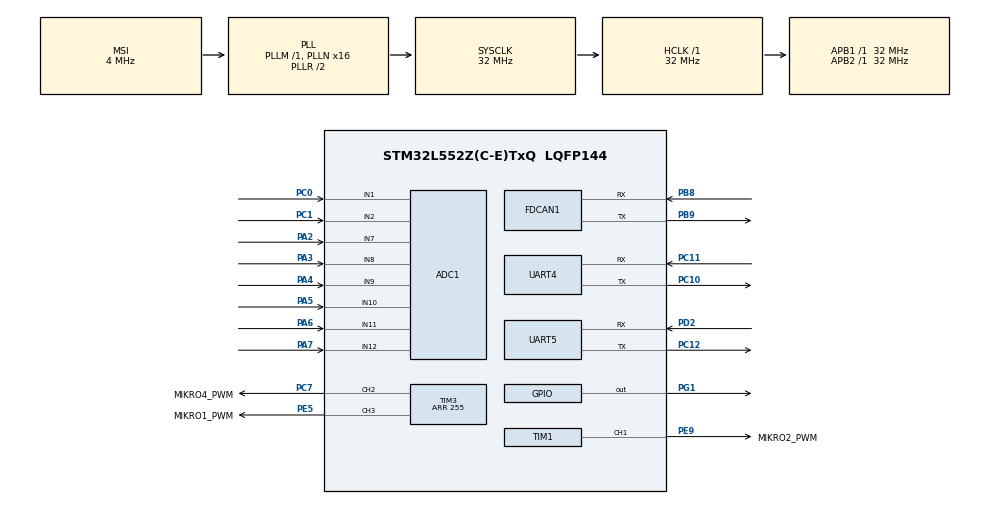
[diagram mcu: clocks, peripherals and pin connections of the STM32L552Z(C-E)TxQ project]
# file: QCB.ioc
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ADC1.Channel-0\#ChannelRegularConversion=ADC_CHANNEL_2
ADC1.Channel-1\#ChannelRegularConversion=ADC_CHANNEL_1
ADC1.Channel-2\#ChannelRegularConversion=ADC_CHANNEL_10
ADC1.Channel-3\#ChannelRegularConversion=ADC_CHANNEL_9
ADC1.Channel-4\#ChannelRegularConversion=ADC_CHANNEL_7
ADC1.Channel-5\#ChannelRegularConversion=ADC_CHANNEL_8
ADC1.Channel-6\#ChannelRegularConversion=ADC_CHANNEL_11
ADC1.Channel-7\#ChannelRegularConversion=ADC_CHANNEL_12
ADC1.ContinuousConvMode=ENABLE
ADC1.DMAContinuousRequests=DISABLE
ADC1.EOCSelection=ADC_EOC_SEQ_CONV
ADC1.NbrOfConversion=8
ADC1.NbrOfConversionFlag=1
ADC1.OffsetNumber-0\#ChannelRegularConversion=ADC_OFFSET_NONE
ADC1.OffsetNumber-1\#ChannelRegularConversion=ADC_OFFSET_NONE
ADC1.OffsetNumber-2\#ChannelRegularConversion=ADC_OFFSET_NONE
ADC1.OffsetNumber-3\#ChannelRegularConversion=ADC_OFFSET_NONE
ADC1.OffsetNumber-4\#ChannelRegularConversion=ADC_OFFSET_NONE
ADC1.OffsetNumber-5\#ChannelRegularConversion=ADC_OFFSET_NONE
ADC1.OffsetNumber-6\#ChannelRegularConversion=ADC_OFFSET_NONE
ADC1.OffsetNumber-7\#ChannelRegularConversion=ADC_OFFSET_NONE
ADC1.Rank-0\#ChannelRegularConversion=1
ADC1.Rank-1\#ChannelRegularConversion=2
ADC1.Rank-2\#ChannelRegularConversion=3
ADC1.Rank-3\#ChannelRegularConversion=4
ADC1.Rank-4\#ChannelRegularConversion=5
ADC1.Rank-5\#ChannelRegularConversion=6
ADC1.Rank-6\#ChannelRegularConversion=7
ADC1.Rank-7\#ChannelRegularConversion=8
ADC1.SamplingTime-0\#ChannelRegularConversion=ADC_SAMPLETIME_640CYCLES_5
ADC1.SamplingTime-1\#ChannelRegularConversion=ADC_SAMPLETIME_640CYCLES_5
ADC1.SamplingTime-2\#ChannelRegularConversion=ADC_SAMPLETIME_640CYCLES_5
ADC1.SamplingTime-3\#ChannelRegularConversion=ADC_SAMPLETIME_640CYCLES_5
ADC1.SamplingTime-4\#ChannelRegularConversion=ADC_SAMPLETIME_640CYCLES_5
ADC1.SamplingTime-5\#ChannelRegularConversion=ADC_SAMPLETIME_640CYCLES_5
ADC1.SamplingTime-6\#ChannelRegularConversion=ADC_SAMPLETIME_640CYCLES_5
ADC1.SamplingTime-7\#ChannelRegularConversion=ADC_SAMPLETIME_640CYCLES_5
ADC1.master=1
Dma.ADC1.0.Channel_PRIV_NPRIV=DMA_CHANNEL_NPRIV_DISABLE
Dma.ADC1.0.Direction=DMA_PERIPH_TO_MEMORY
Dma.ADC1.0.EventEnable=DISABLE
Dma.ADC1.0.Instance=DMA1_Channel1
Dma.ADC1.0.MemDataAlignment=DMA_MDATAALIGN_HALFWORD
Dma.ADC1.0.MemInc=DMA_MINC_ENABLE
Dma.ADC1.0.Mode=DMA_CIRCULAR
Dma.ADC1.0.PeriphDataAlignment=DMA_PDATAALIGN_HALFWORD
Dma.ADC1.0.PeriphInc=DMA_PINC_DISABLE
Dma.ADC1.0.Polarity=HAL_DMAMUX_REQ_GEN_RISING
Dma.ADC1.0.Priority=DMA_PRIORITY_LOW
Dma.ADC1.0.RequestNumber=1
Dma.ADC1.0.SignalID=NONE
Dma.ADC1.0.SyncEnable=DISABLE
Dma.ADC1.0.SyncPolarity=HAL_DMAMUX_SYNC_NO_EVENT
Dma.ADC1.0.SyncRequestNumber=1
Dma.ADC1.0.SyncSignalID=NONE
Dma.Request0=ADC1
FDCAN1.AutoRetransmission=ENABLE
FDCAN1.CalculateBaudRateNominal=125000
FDCAN1.CalculateTimeBitNominal=8000
FDCAN1.CalculateTimeQuantumNominal=500.0
FDCAN1.FrameFormat=FDCAN_FRAME_FD_NO_BRS
FDCAN1.Mode=FDCAN_MODE_NORMAL
FDCAN1.NominalTimeSeg1=13
FDCAN1.StdFiltersNbr=1
Mcu.Family=STM32L5
Mcu.Name=STM32L552Z(C-E)TxQ
Mcu.Package=LQFP144
NVIC.DMA1_Channel1_IRQn=true\:0\:0\:false\:false\:true\:false\:true\:true
NVIC.FDCAN1_IT0_IRQn=true\:0\:0\:false\:false\:true\:true\:true\:true
NVIC.FDCAN1_IT1_IRQn=true\:0\:0\:false\:false\:true\:true\:true\:true
NVIC.PriorityGroup=NVIC_PRIORITYGROUP_3
NVIC.UART4_IRQn=true\:0\:0\:false\:false\:true\:true\:true\:true
PA13\ (JTMS/SWDIO).Mode=Serial_Wire
PA13\ (JTMS/SWDIO).Signal=DEBUG_JTMS-SWDIO
PA14\ (JTCK/SWCLK).Mode=Serial_Wire
PA14\ (JTCK/SWCLK).Signal=DEBUG_JTCK-SWCLK
PA2.Signal=ADCx_IN7
PA3.Signal=ADCx_IN8
PA4.Signal=ADCx_IN9
PA5.Signal=ADCx_IN10
PA6.Signal=ADCx_IN11
PA7.Signal=ADCx_IN12
PB5.Signal=UART5_CTS
PB8.Mode=FDCAN_Activate
PB8.Signal=FDCAN1_RX
PB9.Mode=FDCAN_Activate
PB9.Signal=FDCAN1_TX
PC0.Signal=ADCx_IN1
PC1.Signal=ADCx_IN2
PC10.Mode=Asynchronous
PC10.Signal=UART4_TX
PC11.Mode=Asynchronous
PC11.Signal=UART4_RX
PC12.Mode=Asynchronous
PC12.Signal=UART5_TX
PC7.GPIO_Label=MIKRO4_PWM
PC7.Signal=S_TIM3_CH2
PD2.Mode=Asynchronous
PD2.Signal=UART5_RX
PE5.GPIO_Label=MIKRO1_PWM
PE5.Signal=S_TIM3_CH3
PE9.GPIO_Label=MIKRO2_PWM
PE9.Signal=S_TIM1_CH1
PG1.Signal=GPIO_Output
PH0-OSC_IN\ (PH0).Mode=HSE-External-Oscillator
PH0-OSC_IN\ (PH0).Signal=RCC_OSC_IN
PH1-OSC_OUT\ (PH1).Mode=HSE-External-Oscillator
PH1-OSC_OUT\ (PH1).Signal=RCC_OSC_OUT
ProjectManager.HeapSize=0x200
ProjectManager.StackSize=0x400
ProjectManager.TargetToolchain=STM32CubeIDE
RCC.ADCFreq_Value=32000000
RCC.AHBFreq_Value=32000000
RCC.APB1Freq_Value=32000000
RCC.APB1TimFreq_Value=32000000
RCC.APB2Freq_Value=32000000
RCC.APB2TimFreq_Value=32000000
RCC.CortexFreq_Value=32000000
RCC.HCLKFreq_Value=32000000
RCC.HSE_VALUE=32000000
RCC.HSI48_VALUE=48000000
RCC.HSI_VALUE=16000000
RCC.LSE_VALUE=32768
RCC.MSI_VALUE=4000000
RCC.PLLN=16
RCC.PLLSAI1N=16
RCC.SYSCLKFreq_VALUE=32000000
RCC.SYSCLKSource=RCC_SYSCLKSOURCE_PLLCLK
RCC.USBFreq_Value=32000000
RCC.VCOOutputFreq_Value=64000000
SH.ADCx_IN1.0=ADC1_IN1,IN1-Single-Ended
SH.ADCx_IN10.0=ADC1_IN10,IN10-Single-Ended
SH.ADCx_IN11.0=ADC1_IN11,IN11-Single-Ended
SH.ADCx_IN12.0=ADC1_IN12,IN12-Single-Ended
SH.ADCx_IN2.0=ADC1_IN2,IN2-Single-Ended
SH.ADCx_IN7.0=ADC1_IN7,IN7-Single-Ended
SH.ADCx_IN8.0=ADC1_IN8,IN8-Single-Ended
SH.ADCx_IN9.0=ADC1_IN9,IN9-Single-Ended
SH.S_TIM1_CH1.0=TIM1_CH1,PWM Generation1 CH1
SH.S_TIM3_CH2.0=TIM3_CH2,PWM Generation2 CH2
SH.S_TIM3_CH3.0=TIM3_CH3,PWM Generation3 CH3
TIM1.Channel-PWM\ Generation1\ CH1=TIM_CHANNEL_1
TIM1.Period=255
TIM3.Channel-PWM\ Generation2\ CH2=TIM_CHANNEL_2
TIM3.Channel-PWM\ Generation3\ CH3=TIM_CHANNEL_3
TIM3.Period=255
VP_ICACHE_VS_ICACHE.Mode=DirectMappedCache
VP_PWR_VS_DBSignals.Mode=DisableDeadBatterySignals
VP_PWR_VS_SECSignals.Mode=Security/Privilege
board=custom

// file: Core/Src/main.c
/* USER CODE BEGIN Header */
/**
  ******************************************************************************
  * @file           : main.c
  * @brief          : Main program body
  ******************************************************************************
  * @attention
  *
  * Copyright (c) 2022 STMicroelectronics.
  * All rights reserved.
  *
  * This software is licensed under terms that can be found in the LICENSE file
  * in the root directory of this software component.
  * If no LICENSE file comes with this software, it is provided AS-IS.
  *
  ******************************************************************************
  */
/* USER CODE END Header */
#include "main.h"

/* USER CODE BEGIN Includes */
#include <stdbool.h>
#include <string.h>
#include "axe_init.h"
/* USER CODE END Includes */

ADC_HandleTypeDef hadc1;
DMA_HandleTypeDef hdma_adc1;

FDCAN_HandleTypeDef hfdcan1;

TIM_HandleTypeDef htim1;
TIM_HandleTypeDef htim3;

UART_HandleTypeDef huart4;
UART_HandleTypeDef huart5;

/* USER CODE BEGIN PV */
uint8_t uart_char[MAX_SLIP_SIZE];
uint8_t pkt_buff[MAX_IPKT_SIZE];
uint8_t fdcan_tx_buff[64];
int fdcan_tx_buff_num = 0;
int transmit_buff_num = 0;
bool command_receive = false;
uint8_t can_rx_test[64];
FDCAN_TxHeaderTypeDef tx_header;
FDCAN_RxHeaderTypeDef rx_header;

const uint32_t my_address = (('Q' & 0x1F) << 24) + ('U' << 16) + ('E' << 8);
// The first multicast address is ALL, which is ASCII "ALL" preceeded by 1's over CAN.
const uint32_t all_address = (0x1F << 24) + ('A' << 16) + ('L' << 8) + 'L';
// The second multicast address is HALL, which is ASCII "ALL" preceeded by 0's over CAN.
// This makes HALL multicast messages higher priority.
const uint32_t hall_address = (0x00 << 24) + ('A' << 16) + ('L' << 8) + 'L';

// Other addresses
const uint32_t qcb_address = (('U' & 0x1F) << 24) + ('I' << 16) + ('U' << 8) + 'C';

const FDCAN_FilterTypeDef sFilterConfig1 = {
  .IdType = FDCAN_EXTENDED_ID,
  .FilterIndex = 0,
  .FilterType = FDCAN_FILTER_DUAL,
  .FilterConfig = FDCAN_FILTER_TO_RXFIFO0,
  .FilterID1 = PLSB_ADDR,
  .FilterID2 = PLSB_ADDR
};

const FDCAN_FilterTypeDef sFilterConfig2 = {
  .IdType = FDCAN_EXTENDED_ID,
  .FilterIndex = 1,
  .FilterType = FDCAN_FILTER_DUAL,
  .FilterConfig = FDCAN_FILTER_TO_RXFIFO0_HP,
  .FilterID1 = PLSB_ADDR,
  .FilterID2 = PLSB_ADDR
};

struct TNODE table[20];
volatile int adc_conv1_complete = 0;
#define NUM_CHANNELS 8
uint16_t adc_result[NUM_CHANNELS];
/* USER CODE END PV */

void SystemClock_Config(void);
static void MX_GPIO_Init(void);
static void MX_DMA_Init(void);
static void MX_ICACHE_Init(void);
static void MX_UART4_Init(void);
static void MX_UART5_Init(void);
static void MX_TIM3_Init(void);
static void MX_ADC1_Init(void);
static void MX_FDCAN1_Init(void);
static void MX_TIM1_Init(void);
/* USER CODE BEGIN PFP */
void send_stm32_uart(ipacket_t* pkt);
int axe_process_f(ipacket_t* pkt);
void takeMeasurement();
/* USER CODE END PFP */

int main(void)
{
  /* USER CODE BEGIN 1 */
  //char can_test[12] = "1234567890\r\n";
  /* USER CODE END 1 */

  /* MCU Configuration--------------------------------------------------------*/

  /* Reset of all peripherals, Initializes the Flash interface and the Systick. */
  HAL_Init();

  /* Configure the system clock */
  SystemClock_Config();

  /* Initialize all configured peripherals */
  MX_GPIO_Init();
  MX_DMA_Init();
  MX_ICACHE_Init();
  MX_UART4_Init();
  MX_UART5_Init();
  MX_TIM3_Init();
  MX_ADC1_Init();
  MX_FDCAN1_Init();
  MX_TIM1_Init();
  /* USER CODE BEGIN 2 */
  tx_header.Identifier = qcb_address;
  tx_header.IdType = FDCAN_EXTENDED_ID;
  tx_header.TxFrameType = FDCAN_DATA_FRAME;
  tx_header.DataLength = FDCAN_DLC_BYTES_64;
  tx_header.ErrorStateIndicator = FDCAN_ESI_ACTIVE;
  tx_header.BitRateSwitch = FDCAN_BRS_OFF;
  tx_header.FDFormat = FDCAN_FD_CAN;
  tx_header.MessageMarker = 0;
  tx_header.TxEventFifoControl = FDCAN_NO_TX_EVENTS;

  HAL_UART_Receive_IT(&huart4, uart_char, 1);
  memset(fdcan_tx_buff, '\0', sizeof(fdcan_tx_buff));

  // ICOMMs config
  iface_t can = {
      .active = true,
      // Should be all but your address if not RADCOM
      .addrs = {ALBIN_ADDR, DCM_ADDR, QCB_ADDR, GND_ADDR, RADCOM_ADDR},
      .mtu = CAN_MTU,
      .interface = CAN,
      .send_pkt = stm32can_send,
  };
  iface_table[0] = can;
  board_config.router = false;
  board_config.my_addr = PLSB_ADDR;
  board_config.crc32_f = crc32;
  board_config.axe_process_f = axe_process_f;
  seaque_fdcan = &hfdcan1;

  axe_config_t a_cfg = {
    .root_table = root_table,
    .root_table_len = TABLE_SIZE,
  };
  axe_set_config(a_cfg);
  init_axe();
  table_init();

  // PWM setup
  HAL_TIM_Base_Start(&htim3);
  HAL_TIM_PWM_Init(&htim3);
  HAL_TIM_PWM_Start(&htim3, TIM_CHANNEL_3);
  HAL_TIM_PWM_Start(&htim3, TIM_CHANNEL_2);
  HAL_TIM_PWM_Start(&htim3, TIM_CHANNEL_1);
  HAL_TIM_Base_Start(&htim1);
  HAL_TIM_PWM_Init(&htim1);
  HAL_TIM_PWM_Start(&htim1, TIM_CHANNEL_1);

  // ICOMM Packet
  ipacket_t pkt = {
    .cmd = 0,
    .addr_to = GND_ADDR,
    .addr_from = board_config.my_addr,
    .n = 0,
    .m = 0,
    .data = {'\0'},
  };

  // Serial debug variables
  int return_val = 0;
  char test[50] = {'\0'};

  int tempsize = snprintf(test, sizeof(test), "Started\r\n");
  HAL_UART_Transmit(&huart5, test, tempsize, 100);

  uint16_t* packet_data;
  packet_data = (uint16_t*)(pkt.data);
  /* USER CODE END 2 */

  /* Infinite loop */
  while (1)
  {

    /* USER CODE BEGIN 3 */

    // ----- Sweep Curve -----
    // MIKRO1_PWM
    for (int i=0; i<255; i++){
      htim3.Instance->CCR3 = i;
      takeMeasurement();
      packet_data[i] = adc_result[0];
      packet_data[i+256] = adc_result[1];
    }
    // MIKRO2_PWM
    for (int i=0; i<255; i++){
      htim1.Instance->CCR1 = i;
      takeMeasurement();
      packet_data[i+512] = adc_result[2];
      packet_data[i+512+256] = adc_result[3];
    }
    // MIKRO4_PWM
    for (int i=0; i<255; i++){
      htim3.Instance->CCR2 = i;
      takeMeasurement();
      packet_data[i+1024] = adc_result[6];
      packet_data[i+1024+256] = adc_result[7];
    }

    // a test packet
    /* for (int i=0;i<512 * 3 * 2;i++){ */
    /*   pkt.data[i] = i; */
    /* } */

    if (telemetry_en) {
      pkt.size = 512 * 3 * 2;
      send_ipacket(&pkt);
      comms_tick();
    }

    /* // send the whole packet over serial */
    /* HAL_UART_Transmit(&huart5, packet_data, pkt.size, 100); */
    /* HAL_Delay(100); */

    /* ----------------------------------- */
    /* uint16_t raw; */
    /* char msg[10]; */
    /* while (1) */
    /*   { */

    /*     // Get ADC value */
    /*     HAL_ADC_Start(&hadc1); */
    /*     HAL_ADC_PollForConversion(&hadc1, HAL_MAX_DELAY); */
    /*     raw = HAL_ADC_GetValue(&hadc1); */

    /*     // Convert to string and print */
    /*     sprintf(msg, "%hu\r\n", raw); */
    /*     HAL_UART_Transmit(&huart5, (uint8_t*)msg, strlen(msg), HAL_MAX_DELAY); */

    /*     // Pretend we have to do something else for a while */
    /*     HAL_Delay(1); */
    /*   } */
    /* ----------------------------------- */

    /* takeMeasurement(); */
    /* for (int i=0; i<NUM_CHANNELS; i++){ */
    /*     int tempsize = snprintf(test, sizeof(test), "RRank %d: %u\r\n", i+1, adc_result[i]); */
    /*     HAL_UART_Transmit(&huart5, test, tempsize, 100); */
    /*     HAL_Delay(10); */
    /* } */

    /* HAL_Delay(1000); */
    /* HAL_GPIO_WritePin(GPIOG, GPIO_PIN_1, GPIO_PIN_RESET); */
    /* HAL_Delay(1000); */
    /* HAL_GPIO_WritePin(GPIOG, GPIO_PIN_1, GPIO_PIN_SET); */
    /* HAL_Delay(300000); */

    HAL_Delay(300000);

  }
  /* USER CODE END 3 */
}

void SystemClock_Config(void)
{
  RCC_OscInitTypeDef RCC_OscInitStruct = {0};
  RCC_ClkInitTypeDef RCC_ClkInitStruct = {0};

  /** Configure the main internal regulator output voltage
  */
  if (HAL_PWREx_ControlVoltageScaling(PWR_REGULATOR_VOLTAGE_SCALE1) != HAL_OK)
  {
    Error_Handler();
  }

  /** Initializes the RCC Oscillators according to the specified parameters
  * in the RCC_OscInitTypeDef structure.
  */
  RCC_OscInitStruct.OscillatorType = RCC_OSCILLATORTYPE_MSI;
  RCC_OscInitStruct.MSIState = RCC_MSI_ON;
  RCC_OscInitStruct.MSICalibrationValue = RCC_MSICALIBRATION_DEFAULT;
  RCC_OscInitStruct.MSIClockRange = RCC_MSIRANGE_6;
  RCC_OscInitStruct.PLL.PLLState = RCC_PLL_ON;
  RCC_OscInitStruct.PLL.PLLSource = RCC_PLLSOURCE_MSI;
  RCC_OscInitStruct.PLL.PLLM = 1;
  RCC_OscInitStruct.PLL.PLLN = 16;
  RCC_OscInitStruct.PLL.PLLP = RCC_PLLP_DIV7;
  RCC_OscInitStruct.PLL.PLLQ = RCC_PLLQ_DIV2;
  RCC_OscInitStruct.PLL.PLLR = RCC_PLLR_DIV2;
  if (HAL_RCC_OscConfig(&RCC_OscInitStruct) != HAL_OK)
  {
    Error_Handler();
  }

  /** Initializes the CPU, AHB and APB buses clocks
  */
  RCC_ClkInitStruct.ClockType = RCC_CLOCKTYPE_HCLK|RCC_CLOCKTYPE_SYSCLK
                              |RCC_CLOCKTYPE_PCLK1|RCC_CLOCKTYPE_PCLK2;
  RCC_ClkInitStruct.SYSCLKSource = RCC_SYSCLKSOURCE_PLLCLK;
  RCC_ClkInitStruct.AHBCLKDivider = RCC_SYSCLK_DIV1;
  RCC_ClkInitStruct.APB1CLKDivider = RCC_HCLK_DIV1;
  RCC_ClkInitStruct.APB2CLKDivider = RCC_HCLK_DIV1;

  if (HAL_RCC_ClockConfig(&RCC_ClkInitStruct, FLASH_LATENCY_1) != HAL_OK)
  {
    Error_Handler();
  }
}

static void MX_ADC1_Init(void)
{

  ADC_MultiModeTypeDef multimode = {0};
  ADC_ChannelConfTypeDef sConfig = {0};

  /** Common config
  */
  hadc1.Instance = ADC1;
  hadc1.Init.ClockPrescaler = ADC_CLOCK_ASYNC_DIV1;
  hadc1.Init.Resolution = ADC_RESOLUTION_12B;
  hadc1.Init.DataAlign = ADC_DATAALIGN_RIGHT;
  hadc1.Init.ScanConvMode = ADC_SCAN_ENABLE;
  hadc1.Init.EOCSelection = ADC_EOC_SEQ_CONV;
  hadc1.Init.LowPowerAutoWait = DISABLE;
  hadc1.Init.ContinuousConvMode = ENABLE;
  hadc1.Init.NbrOfConversion = 8;
  hadc1.Init.DiscontinuousConvMode = DISABLE;
  hadc1.Init.ExternalTrigConv = ADC_SOFTWARE_START;
  hadc1.Init.ExternalTrigConvEdge = ADC_EXTERNALTRIGCONVEDGE_NONE;
  hadc1.Init.DMAContinuousRequests = DISABLE;
  hadc1.Init.Overrun = ADC_OVR_DATA_PRESERVED;
  hadc1.Init.OversamplingMode = DISABLE;
  if (HAL_ADC_Init(&hadc1) != HAL_OK)
  {
    Error_Handler();
  }

  /** Configure the ADC multi-mode
  */
  multimode.Mode = ADC_MODE_INDEPENDENT;
  if (HAL_ADCEx_MultiModeConfigChannel(&hadc1, &multimode) != HAL_OK)
  {
    Error_Handler();
  }

  /** Configure Regular Channel
  */
  sConfig.Channel = ADC_CHANNEL_2;
  sConfig.Rank = ADC_REGULAR_RANK_1;
  sConfig.SamplingTime = ADC_SAMPLETIME_640CYCLES_5;
  sConfig.SingleDiff = ADC_SINGLE_ENDED;
  sConfig.OffsetNumber = ADC_OFFSET_NONE;
  sConfig.Offset = 0;
  if (HAL_ADC_ConfigChannel(&hadc1, &sConfig) != HAL_OK)
  {
    Error_Handler();
  }

  /** Configure Regular Channel
  */
  sConfig.Channel = ADC_CHANNEL_1;
  sConfig.Rank = ADC_REGULAR_RANK_2;
  if (HAL_ADC_ConfigChannel(&hadc1, &sConfig) != HAL_OK)
  {
    Error_Handler();
  }

  /** Configure Regular Channel
  */
  sConfig.Channel = ADC_CHANNEL_10;
  sConfig.Rank = ADC_REGULAR_RANK_3;
  if (HAL_ADC_ConfigChannel(&hadc1, &sConfig) != HAL_OK)
  {
    Error_Handler();
  }

  /** Configure Regular Channel
  */
  sConfig.Channel = ADC_CHANNEL_9;
  sConfig.Rank = ADC_REGULAR_RANK_4;
  if (HAL_ADC_ConfigChannel(&hadc1, &sConfig) != HAL_OK)
  {
    Error_Handler();
  }

  /** Configure Regular Channel
  */
  sConfig.Channel = ADC_CHANNEL_7;
  sConfig.Rank = ADC_REGULAR_RANK_5;
  if (HAL_ADC_ConfigChannel(&hadc1, &sConfig) != HAL_OK)
  {
    Error_Handler();
  }

  /** Configure Regular Channel
  */
  sConfig.Channel = ADC_CHANNEL_8;
  sConfig.Rank = ADC_REGULAR_RANK_6;
  if (HAL_ADC_ConfigChannel(&hadc1, &sConfig) != HAL_OK)
  {
    Error_Handler();
  }

  /** Configure Regular Channel
  */
  sConfig.Channel = ADC_CHANNEL_11;
  sConfig.Rank = ADC_REGULAR_RANK_7;
  if (HAL_ADC_ConfigChannel(&hadc1, &sConfig) != HAL_OK)
  {
    Error_Handler();
  }

  /** Configure Regular Channel
  */
  sConfig.Channel = ADC_CHANNEL_12;
  sConfig.Rank = ADC_REGULAR_RANK_8;
  if (HAL_ADC_ConfigChannel(&hadc1, &sConfig) != HAL_OK)
  {
    Error_Handler();
  }

}

static void MX_FDCAN1_Init(void)
{

  hfdcan1.Instance = FDCAN1;
  hfdcan1.Init.ClockDivider = FDCAN_CLOCK_DIV1;
  hfdcan1.Init.FrameFormat = FDCAN_FRAME_FD_NO_BRS;
  hfdcan1.Init.Mode = FDCAN_MODE_NORMAL;
  hfdcan1.Init.AutoRetransmission = ENABLE;
  hfdcan1.Init.TransmitPause = DISABLE;
  hfdcan1.Init.ProtocolException = DISABLE;
  hfdcan1.Init.NominalPrescaler = 16;
  hfdcan1.Init.NominalSyncJumpWidth = 1;
  hfdcan1.Init.NominalTimeSeg1 = 13;
  hfdcan1.Init.NominalTimeSeg2 = 2;
  hfdcan1.Init.DataPrescaler = 1;
  hfdcan1.Init.DataSyncJumpWidth = 1;
  hfdcan1.Init.DataTimeSeg1 = 1;
  hfdcan1.Init.DataTimeSeg2 = 1;
  hfdcan1.Init.StdFiltersNbr = 1;
  hfdcan1.Init.ExtFiltersNbr = 0;
  hfdcan1.Init.TxFifoQueueMode = FDCAN_TX_FIFO_OPERATION;
  if (HAL_FDCAN_Init(&hfdcan1) != HAL_OK)
  {
    Error_Handler();
  }
  /* USER CODE BEGIN FDCAN1_Init 2 */

  if (HAL_FDCAN_ConfigFilter(&hfdcan1, &sFilterConfig1) != HAL_OK){
    Error_Handler();
  }

  HAL_FDCAN_ConfigInterruptLines(&hfdcan1, FDCAN_IT_GROUP_RX_FIFO0, FDCAN_INTERRUPT_LINE0);
  HAL_FDCAN_ActivateNotification(&hfdcan1, FDCAN_IT_RX_FIFO0_NEW_MESSAGE, FDCAN_TX_BUFFER0);

  HAL_FDCAN_Start(&hfdcan1);
  /* USER CODE END FDCAN1_Init 2 */

}

static void MX_ICACHE_Init(void)
{

  /** Enable instruction cache in 1-way (direct mapped cache)
  */
  if (HAL_ICACHE_ConfigAssociativityMode(ICACHE_1WAY) != HAL_OK)
  {
    Error_Handler();
  }
  if (HAL_ICACHE_Enable() != HAL_OK)
  {
    Error_Handler();
  }

}

static void MX_TIM1_Init(void)
{

  TIM_MasterConfigTypeDef sMasterConfig = {0};
  TIM_OC_InitTypeDef sConfigOC = {0};
  TIM_BreakDeadTimeConfigTypeDef sBreakDeadTimeConfig = {0};

  htim1.Instance = TIM1;
  htim1.Init.Prescaler = 0;
  htim1.Init.CounterMode = TIM_COUNTERMODE_UP;
  htim1.Init.Period = 255;
  htim1.Init.ClockDivision = TIM_CLOCKDIVISION_DIV1;
  htim1.Init.RepetitionCounter = 0;
  htim1.Init.AutoReloadPreload = TIM_AUTORELOAD_PRELOAD_DISABLE;
  if (HAL_TIM_PWM_Init(&htim1) != HAL_OK)
  {
    Error_Handler();
  }
  sMasterConfig.MasterOutputTrigger = TIM_TRGO_RESET;
  sMasterConfig.MasterOutputTrigger2 = TIM_TRGO2_RESET;
  sMasterConfig.MasterSlaveMode = TIM_MASTERSLAVEMODE_DISABLE;
  if (HAL_TIMEx_MasterConfigSynchronization(&htim1, &sMasterConfig) != HAL_OK)
  {
    Error_Handler();
  }
  sConfigOC.OCMode = TIM_OCMODE_PWM1;
  sConfigOC.Pulse = 0;
  sConfigOC.OCPolarity = TIM_OCPOLARITY_HIGH;
  sConfigOC.OCNPolarity = TIM_OCNPOLARITY_HIGH;
  sConfigOC.OCFastMode = TIM_OCFAST_DISABLE;
  sConfigOC.OCIdleState = TIM_OCIDLESTATE_RESET;
  sConfigOC.OCNIdleState = TIM_OCNIDLESTATE_RESET;
  if (HAL_TIM_PWM_ConfigChannel(&htim1, &sConfigOC, TIM_CHANNEL_1) != HAL_OK)
  {
    Error_Handler();
  }
  sBreakDeadTimeConfig.OffStateRunMode = TIM_OSSR_DISABLE;
  sBreakDeadTimeConfig.OffStateIDLEMode = TIM_OSSI_DISABLE;
  sBreakDeadTimeConfig.LockLevel = TIM_LOCKLEVEL_OFF;
  sBreakDeadTimeConfig.DeadTime = 0;
  sBreakDeadTimeConfig.BreakState = TIM_BREAK_DISABLE;
  sBreakDeadTimeConfig.BreakPolarity = TIM_BREAKPOLARITY_HIGH;
  sBreakDeadTimeConfig.BreakFilter = 0;
  sBreakDeadTimeConfig.BreakAFMode = TIM_BREAK_AFMODE_INPUT;
  sBreakDeadTimeConfig.Break2State = TIM_BREAK2_DISABLE;
  sBreakDeadTimeConfig.Break2Polarity = TIM_BREAK2POLARITY_HIGH;
  sBreakDeadTimeConfig.Break2Filter = 0;
  sBreakDeadTimeConfig.Break2AFMode = TIM_BREAK_AFMODE_INPUT;
  sBreakDeadTimeConfig.AutomaticOutput = TIM_AUTOMATICOUTPUT_DISABLE;
  if (HAL_TIMEx_ConfigBreakDeadTime(&htim1, &sBreakDeadTimeConfig) != HAL_OK)
  {
    Error_Handler();
  }
  HAL_TIM_MspPostInit(&htim1);

}

static void MX_TIM3_Init(void)
{

  TIM_MasterConfigTypeDef sMasterConfig = {0};
  TIM_OC_InitTypeDef sConfigOC = {0};

  htim3.Instance = TIM3;
  htim3.Init.Prescaler = 0;
  htim3.Init.CounterMode = TIM_COUNTERMODE_UP;
  htim3.Init.Period = 255;
  htim3.Init.ClockDivision = TIM_CLOCKDIVISION_DIV1;
  htim3.Init.AutoReloadPreload = TIM_AUTORELOAD_PRELOAD_DISABLE;
  if (HAL_TIM_PWM_Init(&htim3) != HAL_OK)
  {
    Error_Handler();
  }
  sMasterConfig.MasterOutputTrigger = TIM_TRGO_RESET;
  sMasterConfig.MasterSlaveMode = TIM_MASTERSLAVEMODE_DISABLE;
  if (HAL_TIMEx_MasterConfigSynchronization(&htim3, &sMasterConfig) != HAL_OK)
  {
    Error_Handler();
  }
  sConfigOC.OCMode = TIM_OCMODE_PWM1;
  sConfigOC.Pulse = 0;
  sConfigOC.OCPolarity = TIM_OCPOLARITY_HIGH;
  sConfigOC.OCFastMode = TIM_OCFAST_DISABLE;
  if (HAL_TIM_PWM_ConfigChannel(&htim3, &sConfigOC, TIM_CHANNEL_2) != HAL_OK)
  {
    Error_Handler();
  }
  if (HAL_TIM_PWM_ConfigChannel(&htim3, &sConfigOC, TIM_CHANNEL_3) != HAL_OK)
  {
    Error_Handler();
  }
  HAL_TIM_MspPostInit(&htim3);

}

static void MX_UART4_Init(void)
{

  huart4.Instance = UART4;
  huart4.Init.BaudRate = 115200;
  huart4.Init.WordLength = UART_WORDLENGTH_8B;
  huart4.Init.StopBits = UART_STOPBITS_1;
  huart4.Init.Parity = UART_PARITY_NONE;
  huart4.Init.Mode = UART_MODE_TX_RX;
  huart4.Init.HwFlowCtl = UART_HWCONTROL_NONE;
  huart4.Init.OverSampling = UART_OVERSAMPLING_16;
  huart4.Init.OneBitSampling = UART_ONE_BIT_SAMPLE_DISABLE;
  huart4.Init.ClockPrescaler = UART_PRESCALER_DIV1;
  huart4.AdvancedInit.AdvFeatureInit = UART_ADVFEATURE_NO_INIT;
  if (HAL_UART_Init(&huart4) != HAL_OK)
  {
    Error_Handler();
  }
  if (HAL_UARTEx_SetTxFifoThreshold(&huart4, UART_TXFIFO_THRESHOLD_1_8) != HAL_OK)
  {
    Error_Handler();
  }
  if (HAL_UARTEx_SetRxFifoThreshold(&huart4, UART_RXFIFO_THRESHOLD_1_8) != HAL_OK)
  {
    Error_Handler();
  }
  if (HAL_UARTEx_DisableFifoMode(&huart4) != HAL_OK)
  {
    Error_Handler();
  }

}

static void MX_UART5_Init(void)
{

  huart5.Instance = UART5;
  huart5.Init.BaudRate = 115200;
  huart5.Init.WordLength = UART_WORDLENGTH_8B;
  huart5.Init.StopBits = UART_STOPBITS_1;
  huart5.Init.Parity = UART_PARITY_NONE;
  huart5.Init.Mode = UART_MODE_TX_RX;
  huart5.Init.HwFlowCtl = UART_HWCONTROL_NONE;
  huart5.Init.OverSampling = UART_OVERSAMPLING_16;
  huart5.Init.OneBitSampling = UART_ONE_BIT_SAMPLE_DISABLE;
  huart5.Init.ClockPrescaler = UART_PRESCALER_DIV1;
  huart5.AdvancedInit.AdvFeatureInit = UART_ADVFEATURE_NO_INIT;
  if (HAL_UART_Init(&huart5) != HAL_OK)
  {
    Error_Handler();
  }
  if (HAL_UARTEx_SetTxFifoThreshold(&huart5, UART_TXFIFO_THRESHOLD_1_8) != HAL_OK)
  {
    Error_Handler();
  }
  if (HAL_UARTEx_SetRxFifoThreshold(&huart5, UART_RXFIFO_THRESHOLD_1_8) != HAL_OK)
  {
    Error_Handler();
  }
  if (HAL_UARTEx_DisableFifoMode(&huart5) != HAL_OK)
  {
    Error_Handler();
  }

}

static void MX_DMA_Init(void)
{

  /* DMA controller clock enable */
  __HAL_RCC_DMAMUX1_CLK_ENABLE();
  __HAL_RCC_DMA1_CLK_ENABLE();

  /* DMA interrupt init */
  /* DMA1_Channel1_IRQn interrupt configuration */
  HAL_NVIC_SetPriority(DMA1_Channel1_IRQn, 0, 0);
  HAL_NVIC_EnableIRQ(DMA1_Channel1_IRQn);

}

static void MX_GPIO_Init(void)
{
  GPIO_InitTypeDef GPIO_InitStruct = {0};

  /* GPIO Ports Clock Enable */
  __HAL_RCC_GPIOE_CLK_ENABLE();
  __HAL_RCC_GPIOH_CLK_ENABLE();
  __HAL_RCC_GPIOC_CLK_ENABLE();
  __HAL_RCC_GPIOA_CLK_ENABLE();
  __HAL_RCC_GPIOG_CLK_ENABLE();
  __HAL_RCC_GPIOD_CLK_ENABLE();
  __HAL_RCC_GPIOB_CLK_ENABLE();

  /*Configure GPIO pin Output Level */
  HAL_GPIO_WritePin(GPIOG, GPIO_PIN_1, GPIO_PIN_RESET);

  /*Configure GPIO pin : PG1 */
  GPIO_InitStruct.Pin = GPIO_PIN_1;
  GPIO_InitStruct.Mode = GPIO_MODE_OUTPUT_PP;
  GPIO_InitStruct.Pull = GPIO_NOPULL;
  GPIO_InitStruct.Speed = GPIO_SPEED_FREQ_LOW;
  HAL_GPIO_Init(GPIOG, &GPIO_InitStruct);

}

/* USER CODE BEGIN 4 */
size_t place = 0;
void HAL_UART_RxCpltCallback(UART_HandleTypeDef *huart)
{

  if (uart_char[place] == 0xC0){
    deslip_data(pkt_buff, uart_char);
    ipacket_t pkt = deserialize_ipacket(pkt_buff);
    recv_ipacket(&pkt);
    place = 0;
    HAL_UART_Receive_IT(&huart4, uart_char, 1);
  } else {
    place++;
    HAL_UART_Receive_IT(&huart4, uart_char + place, 1);
  }

}
/*
void HAL_FDCAN_RxFifo0Callback(FDCAN_HandleTypeDef *hfdcan, uint32_t RxFifo0ITs){
  HAL_FDCAN_GetRxMessage(&hfdcan1, FDCAN_RX_FIFO0, &rx_header, can_rx_test);
  //can_rx_test[64] = '\n';l
  HAL_UART_Transmit(&huart4, can_rx_test, strnlen(can_rx_test, 64), 100);

}*/
void HAL_FDCAN_RxFifo0Callback(FDCAN_HandleTypeDef *hfdcan, uint32_t RxFifo0ITs){
  do {
    FDCAN_RxHeaderTypeDef rxh = {0};
    uint8_t rx_buffer[64];
    HAL_FDCAN_GetRxMessage(&hfdcan1, FDCAN_RX_FIFO0, &rxh, rx_buffer);
    ipacket_t pkt = stm32can_deserialize_ipacket(&rxh, rx_buffer);
    recv_ipacket(&pkt);
  } while (HAL_FDCAN_GetRxFifoFillLevel(&hfdcan1, FDCAN_RX_FIFO0) > 0);
}
void send_stm32_uart(ipacket_t* pkt)
{
  uint8_t buff[MAX_IPKT_SIZE];
  uint8_t buffs[MAX_SLIP_SIZE];
  size_t data_len  = serialize_ipacket(pkt, buff);
  size_t sdata_len = slip_data(buffs, buff, data_len);
  HAL_UART_Transmit(&huart4, buffs, sdata_len, 100);

}

int axe_process_f(ipacket_t* pkt)
{
  ipacket_t rpkt = {
    .cmd = 0,
    .addr_to = pkt->addr_from,
    .addr_from = board_config.my_addr,
    .n = 0,
    .m = 0,
  };
  unsigned int reply_len = process_axe(pkt->data, pkt->size, rpkt.data, MAX_IPAYLOAD_SIZE);
  rpkt.size = reply_len;
  if (reply_len > 0 && reply_len < MAX_IPAYLOAD_SIZE){
    send_ipacket(&rpkt);
  }
  return 0;
}

int fputc(int ch, FILE *f)
{
    HAL_UART_Transmit(&huart5, (unsigned char *)&ch, 1, 100);
    return ch;
}

void takeMeasurement() {
    HAL_ADC_Start_DMA(&hadc1, (uint32_t*) adc_result, NUM_CHANNELS);
    while (adc_conv1_complete == 0);
    adc_conv1_complete = 0;
}

// Signal that ADC has finished conversions
void HAL_ADC_ConvCpltCallback(ADC_HandleTypeDef* AdcHandle){
  if (AdcHandle->Instance == ADC1)
    adc_conv1_complete = 1;
}

/* USER CODE END 4 */

void Error_Handler(void)
{
  __disable_irq();
  while (1)
  {
  }
}

#ifdef  USE_FULL_ASSERT
/**
  * @brief  Reports the name of the source file and the source line number
  *         where the assert_param error has occurred.
  * @param  file: pointer to the source file name
  * @param  line: assert_param error line source number
  * @retval None
  */
void assert_failed(uint8_t *file, uint32_t line)
{
  /* USER CODE BEGIN 6 */
  /* User can add his own implementation to report the file name and line number,
     ex printf("Wrong parameters value: file %s on line %d\r\n", file, line) */
  /* USER CODE END 6 */
}
#endif /* USE_FULL_ASSERT */
